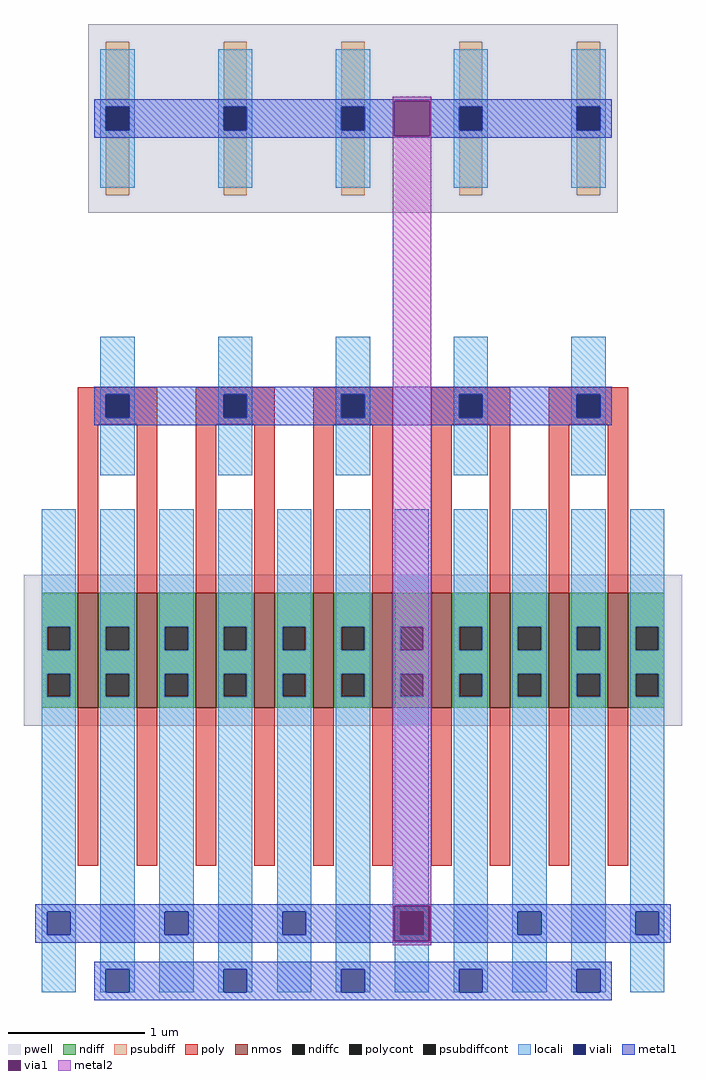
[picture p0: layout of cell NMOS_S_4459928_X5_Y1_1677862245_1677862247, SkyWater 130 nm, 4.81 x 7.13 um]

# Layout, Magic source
magic
tech sky130A
magscale 1 2
<< pwell >>
rect 215 1206 989 1482
rect 121 457 1083 677
<< nmos >>
rect 200 483 230 651
rect 286 483 316 651
rect 372 483 402 651
rect 458 483 488 651
rect 544 483 574 651
rect 630 483 660 651
rect 716 483 746 651
rect 802 483 832 651
rect 888 483 918 651
rect 974 483 1004 651
<< ndiff >>
rect 147 601 200 651
rect 147 567 155 601
rect 189 567 200 601
rect 147 533 200 567
rect 147 499 155 533
rect 189 499 200 533
rect 147 483 200 499
rect 230 601 286 651
rect 230 567 241 601
rect 275 567 286 601
rect 230 533 286 567
rect 230 499 241 533
rect 275 499 286 533
rect 230 483 286 499
rect 316 601 372 651
rect 316 567 327 601
rect 361 567 372 601
rect 316 533 372 567
rect 316 499 327 533
rect 361 499 372 533
rect 316 483 372 499
rect 402 601 458 651
rect 402 567 413 601
rect 447 567 458 601
rect 402 533 458 567
rect 402 499 413 533
rect 447 499 458 533
rect 402 483 458 499
rect 488 601 544 651
rect 488 567 499 601
rect 533 567 544 601
rect 488 533 544 567
rect 488 499 499 533
rect 533 499 544 533
rect 488 483 544 499
rect 574 601 630 651
rect 574 567 585 601
rect 619 567 630 601
rect 574 533 630 567
rect 574 499 585 533
rect 619 499 630 533
rect 574 483 630 499
rect 660 601 716 651
rect 660 567 671 601
rect 705 567 716 601
rect 660 533 716 567
rect 660 499 671 533
rect 705 499 716 533
rect 660 483 716 499
rect 746 601 802 651
rect 746 567 757 601
rect 791 567 802 601
rect 746 533 802 567
rect 746 499 757 533
rect 791 499 802 533
rect 746 483 802 499
rect 832 601 888 651
rect 832 567 843 601
rect 877 567 888 601
rect 832 533 888 567
rect 832 499 843 533
rect 877 499 888 533
rect 832 483 888 499
rect 918 601 974 651
rect 918 567 929 601
rect 963 567 974 601
rect 918 533 974 567
rect 918 499 929 533
rect 963 499 974 533
rect 918 483 974 499
rect 1004 601 1057 651
rect 1004 567 1015 601
rect 1049 567 1057 601
rect 1004 533 1057 567
rect 1004 499 1015 533
rect 1049 499 1057 533
rect 1004 483 1057 499
<< ndiffc >>
rect 155 567 189 601
rect 155 499 189 533
rect 241 567 275 601
rect 241 499 275 533
rect 327 567 361 601
rect 327 499 361 533
rect 413 567 447 601
rect 413 499 447 533
rect 499 567 533 601
rect 499 499 533 533
rect 585 567 619 601
rect 585 499 619 533
rect 671 567 705 601
rect 671 499 705 533
rect 757 567 791 601
rect 757 499 791 533
rect 843 567 877 601
rect 843 499 877 533
rect 929 567 963 601
rect 929 499 963 533
rect 1015 567 1049 601
rect 1015 499 1049 533
<< psubdiff >>
rect 241 1361 275 1456
rect 241 1232 275 1327
rect 413 1361 447 1456
rect 413 1232 447 1327
rect 585 1361 619 1456
rect 585 1232 619 1327
rect 757 1361 791 1456
rect 757 1232 791 1327
rect 929 1361 963 1456
rect 929 1232 963 1327
<< psubdiffcont >>
rect 241 1327 275 1361
rect 413 1327 447 1361
rect 585 1327 619 1361
rect 757 1327 791 1361
rect 929 1327 963 1361
<< poly >>
rect 200 941 316 951
rect 200 907 241 941
rect 275 907 316 941
rect 200 897 316 907
rect 200 651 230 897
rect 286 651 316 897
rect 372 941 488 951
rect 372 907 413 941
rect 447 907 488 941
rect 372 897 488 907
rect 372 651 402 897
rect 458 651 488 897
rect 544 941 660 951
rect 544 907 585 941
rect 619 907 660 941
rect 544 897 660 907
rect 544 651 574 897
rect 630 651 660 897
rect 716 941 832 951
rect 716 907 757 941
rect 791 907 832 941
rect 716 897 832 907
rect 716 651 746 897
rect 802 651 832 897
rect 888 941 1004 951
rect 888 907 929 941
rect 963 907 1004 941
rect 888 897 1004 907
rect 888 651 918 897
rect 974 651 1004 897
rect 200 252 230 483
rect 286 252 316 483
rect 372 252 402 483
rect 458 252 488 483
rect 544 252 574 483
rect 630 252 660 483
rect 716 252 746 483
rect 802 252 832 483
rect 888 252 918 483
rect 974 252 1004 483
<< polycont >>
rect 241 907 275 941
rect 413 907 447 941
rect 585 907 619 941
rect 757 907 791 941
rect 929 907 963 941
<< locali >>
rect 233 1361 283 1445
rect 233 1327 241 1361
rect 275 1327 283 1361
rect 233 1243 283 1327
rect 405 1361 455 1445
rect 405 1327 413 1361
rect 447 1327 455 1361
rect 405 1243 455 1327
rect 577 1361 627 1445
rect 577 1327 585 1361
rect 619 1327 627 1361
rect 577 1243 627 1327
rect 749 1361 799 1445
rect 749 1327 757 1361
rect 791 1327 799 1361
rect 749 1243 799 1327
rect 921 1361 971 1445
rect 921 1327 929 1361
rect 963 1327 971 1361
rect 921 1243 971 1327
rect 233 941 283 1025
rect 233 907 241 941
rect 275 907 283 941
rect 233 823 283 907
rect 405 941 455 1025
rect 405 907 413 941
rect 447 907 455 941
rect 405 823 455 907
rect 577 941 627 1025
rect 577 907 585 941
rect 619 907 627 941
rect 577 823 627 907
rect 749 941 799 1025
rect 749 907 757 941
rect 791 907 799 941
rect 749 823 799 907
rect 921 941 971 1025
rect 921 907 929 941
rect 963 907 971 941
rect 921 823 971 907
rect 147 601 197 773
rect 147 567 155 601
rect 189 567 197 601
rect 147 533 197 567
rect 147 499 155 533
rect 189 499 197 533
rect 147 185 197 499
rect 147 151 155 185
rect 189 151 197 185
rect 147 67 197 151
rect 233 601 283 773
rect 233 567 241 601
rect 275 567 283 601
rect 233 533 283 567
rect 233 499 241 533
rect 275 499 283 533
rect 233 101 283 499
rect 233 67 241 101
rect 275 67 283 101
rect 319 601 369 773
rect 319 567 327 601
rect 361 567 369 601
rect 319 533 369 567
rect 319 499 327 533
rect 361 499 369 533
rect 319 185 369 499
rect 319 151 327 185
rect 361 151 369 185
rect 319 67 369 151
rect 405 601 455 773
rect 405 567 413 601
rect 447 567 455 601
rect 405 533 455 567
rect 405 499 413 533
rect 447 499 455 533
rect 405 101 455 499
rect 405 67 413 101
rect 447 67 455 101
rect 491 601 541 773
rect 491 567 499 601
rect 533 567 541 601
rect 491 533 541 567
rect 491 499 499 533
rect 533 499 541 533
rect 491 185 541 499
rect 491 151 499 185
rect 533 151 541 185
rect 491 67 541 151
rect 577 601 627 773
rect 577 567 585 601
rect 619 567 627 601
rect 577 533 627 567
rect 577 499 585 533
rect 619 499 627 533
rect 577 101 627 499
rect 577 67 585 101
rect 619 67 627 101
rect 663 601 713 773
rect 663 567 671 601
rect 705 567 713 601
rect 663 533 713 567
rect 663 499 671 533
rect 705 499 713 533
rect 663 185 713 499
rect 663 151 671 185
rect 705 151 713 185
rect 663 67 713 151
rect 749 601 799 773
rect 749 567 757 601
rect 791 567 799 601
rect 749 533 799 567
rect 749 499 757 533
rect 791 499 799 533
rect 749 101 799 499
rect 749 67 757 101
rect 791 67 799 101
rect 835 601 885 773
rect 835 567 843 601
rect 877 567 885 601
rect 835 533 885 567
rect 835 499 843 533
rect 877 499 885 533
rect 835 185 885 499
rect 835 151 843 185
rect 877 151 885 185
rect 835 67 885 151
rect 921 601 971 773
rect 921 567 929 601
rect 963 567 971 601
rect 921 533 971 567
rect 921 499 929 533
rect 963 499 971 533
rect 921 101 971 499
rect 921 67 929 101
rect 963 67 971 101
rect 1007 601 1057 773
rect 1007 567 1015 601
rect 1049 567 1057 601
rect 1007 533 1057 567
rect 1007 499 1015 533
rect 1049 499 1057 533
rect 1007 185 1057 499
rect 1007 151 1015 185
rect 1049 151 1057 185
rect 1007 67 1057 151
<< viali >>
rect 241 1327 275 1361
rect 413 1327 447 1361
rect 585 1327 619 1361
rect 757 1327 791 1361
rect 929 1327 963 1361
rect 241 907 275 941
rect 413 907 447 941
rect 585 907 619 941
rect 757 907 791 941
rect 929 907 963 941
rect 155 151 189 185
rect 241 67 275 101
rect 327 151 361 185
rect 413 67 447 101
rect 499 151 533 185
rect 585 67 619 101
rect 671 151 705 185
rect 757 67 791 101
rect 843 151 877 185
rect 929 67 963 101
rect 1015 151 1049 185
<< metal1 >>
rect 224 1370 980 1372
rect 224 1361 662 1370
rect 224 1327 241 1361
rect 275 1327 413 1361
rect 447 1327 585 1361
rect 619 1327 662 1361
rect 224 1318 662 1327
rect 714 1361 980 1370
rect 714 1327 757 1361
rect 791 1327 929 1361
rect 963 1327 980 1361
rect 714 1318 980 1327
rect 224 1316 980 1318
rect 224 941 980 952
rect 224 907 241 941
rect 275 907 413 941
rect 447 907 585 941
rect 619 907 757 941
rect 791 907 929 941
rect 963 907 980 941
rect 224 896 980 907
rect 138 194 1066 196
rect 138 185 662 194
rect 714 185 1066 194
rect 138 151 155 185
rect 189 151 327 185
rect 361 151 499 185
rect 533 151 662 185
rect 714 151 843 185
rect 877 151 1015 185
rect 1049 151 1066 185
rect 138 142 662 151
rect 714 142 1066 151
rect 138 140 1066 142
rect 224 101 980 112
rect 224 67 241 101
rect 275 67 413 101
rect 447 67 585 101
rect 619 67 757 101
rect 791 67 929 101
rect 963 67 980 101
rect 224 56 980 67
<< via1 >>
rect 662 1318 714 1370
rect 662 185 714 194
rect 662 151 671 185
rect 671 151 705 185
rect 705 151 714 185
rect 662 142 714 151
<< metal2 >>
rect 660 1370 716 1376
rect 660 1318 662 1370
rect 714 1318 716 1370
rect 660 194 716 1318
rect 660 142 662 194
rect 714 142 716 194
rect 660 136 716 142
<< end >>
